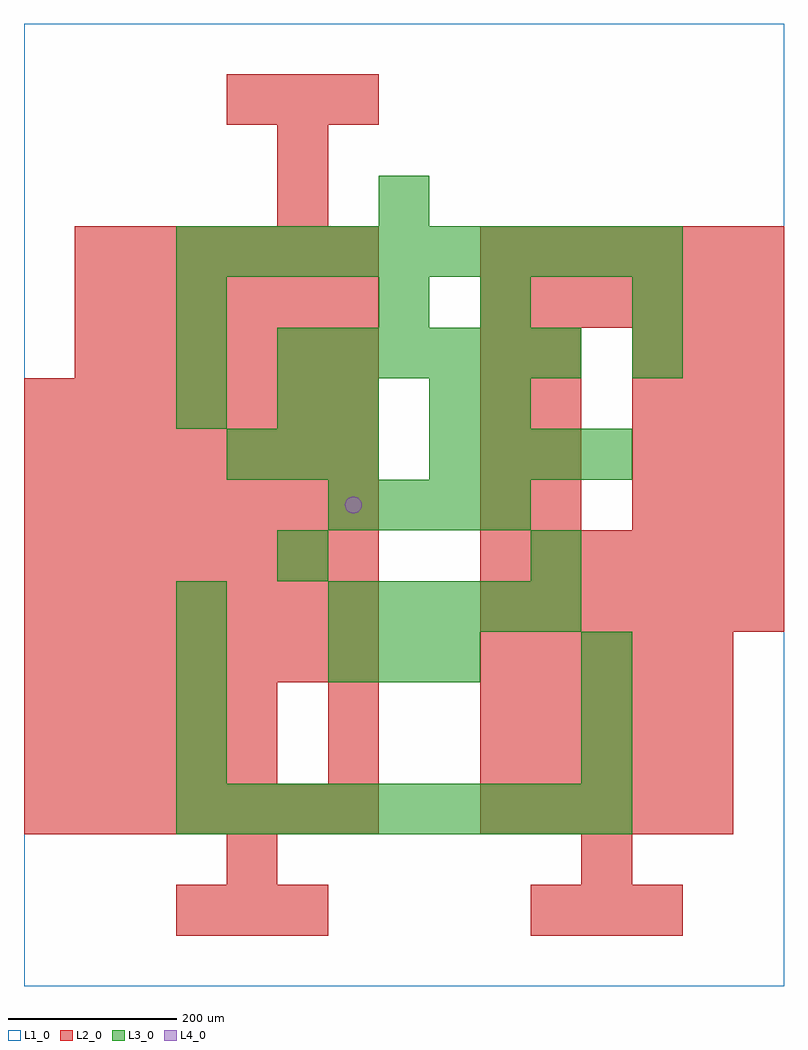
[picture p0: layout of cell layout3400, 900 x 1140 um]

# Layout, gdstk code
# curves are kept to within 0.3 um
import gdstk
lib = gdstk.Library(unit=1e-6, precision=1e-09)
def R(c, l, rs):  # rectangles x0, y0, x1, y1
    for r in rs: c.add(gdstk.rectangle(r[:2], r[2:], *l))
def A(c, l, x, y, w, h, nx, ny, dx, dy):  # array of equal rectangles
    R(c, l, [(x+i*dx, y+j*dy, x+i*dx+w, y+j*dy+h) for i in range(nx) for j in range(ny)])
def P(c, l, *ps):  # polygons
    for p in ps: c.add(gdstk.Polygon(p, *l))
L1_0 = (1, 0)
L2_0 = (2, 0)
L3_0 = (3, 0)
L4_0 = (4, 0)

layout3400 = lib.new_cell('layout3400')
R(layout3400, L1_0, [(0,0,900,1140)])
A(layout3400, L2_0, 180, 60, 60, 60, 3, 1, 60, 0)
A(layout3400, L2_0, 600, 60, 60, 60, 3, 1, 60, 0)
A(layout3400, L2_0, 0, 180, 60, 60, 7, 2, 60, 180)
A(layout3400, L2_0, 540, 180, 60, 60, 5, 4, 60, 60)
A(layout3400, L2_0, 0, 240, 60, 60, 5, 2, 60, 60)
A(layout3400, L2_0, 0, 420, 60, 60, 7, 5, 60, 60)
A(layout3400, L2_0, 540, 420, 60, 60, 6, 2, 60, 60)
A(layout3400, L2_0, 540, 540, 60, 60, 1, 4, 0, 60)
A(layout3400, L2_0, 600, 540, 60, 60, 1, 4, 0, 60)
A(layout3400, L2_0, 720, 540, 60, 60, 3, 4, 60, 60)
A(layout3400, L2_0, 60, 720, 60, 60, 6, 3, 60, 60)
A(layout3400, L2_0, 540, 780, 60, 60, 6, 2, 60, 60)
A(layout3400, L2_0, 240, 1020, 60, 60, 3, 1, 60, 0)
R(layout3400, L2_0, [(240,120,300,180), (660,120,720,180), (360,240,420,300), (360,300,420,360), (300,900,360,960), (300,960,360,1020)])
A(layout3400, L3_0, 180, 180, 60, 60, 9, 1, 60, 0)
A(layout3400, L3_0, 180, 240, 60, 60, 1, 4, 0, 60)
A(layout3400, L3_0, 660, 240, 60, 60, 1, 3, 0, 60)
A(layout3400, L3_0, 360, 360, 60, 60, 3, 1, 60, 0)
A(layout3400, L3_0, 360, 420, 60, 60, 5, 1, 60, 0)
A(layout3400, L3_0, 360, 540, 60, 60, 4, 1, 60, 0)
A(layout3400, L3_0, 240, 600, 60, 60, 3, 1, 60, 0)
A(layout3400, L3_0, 480, 600, 60, 60, 4, 1, 60, 0)
A(layout3400, L3_0, 180, 660, 60, 60, 1, 3, 0, 60)
A(layout3400, L3_0, 300, 720, 60, 60, 6, 1, 60, 0)
A(layout3400, L3_0, 180, 840, 60, 60, 10, 1, 60, 0)
R(layout3400, L3_0, [(300,480,360,540), (600,480,660,540), (300,660,360,720), (360,660,420,720), (480,660,540,720), (540,660,600,720), (720,720,780,780), (420,780,480,840), (540,780,600,840), (720,780,780,840), (420,900,480,960)])
P(layout3400, L4_0, [(400,570),(399.239,573.827),(397.071,577.071),(393.827,579.239),(390,580),(386.173,579.239),(382.929,577.071),(380.761,573.827),(380,570),(380.761,566.173),(382.929,562.929),(386.173,560.761),(390,560),(393.827,560.761),(397.071,562.929),(399.239,566.173)])

lib.write_gds('layout3400.gds')
